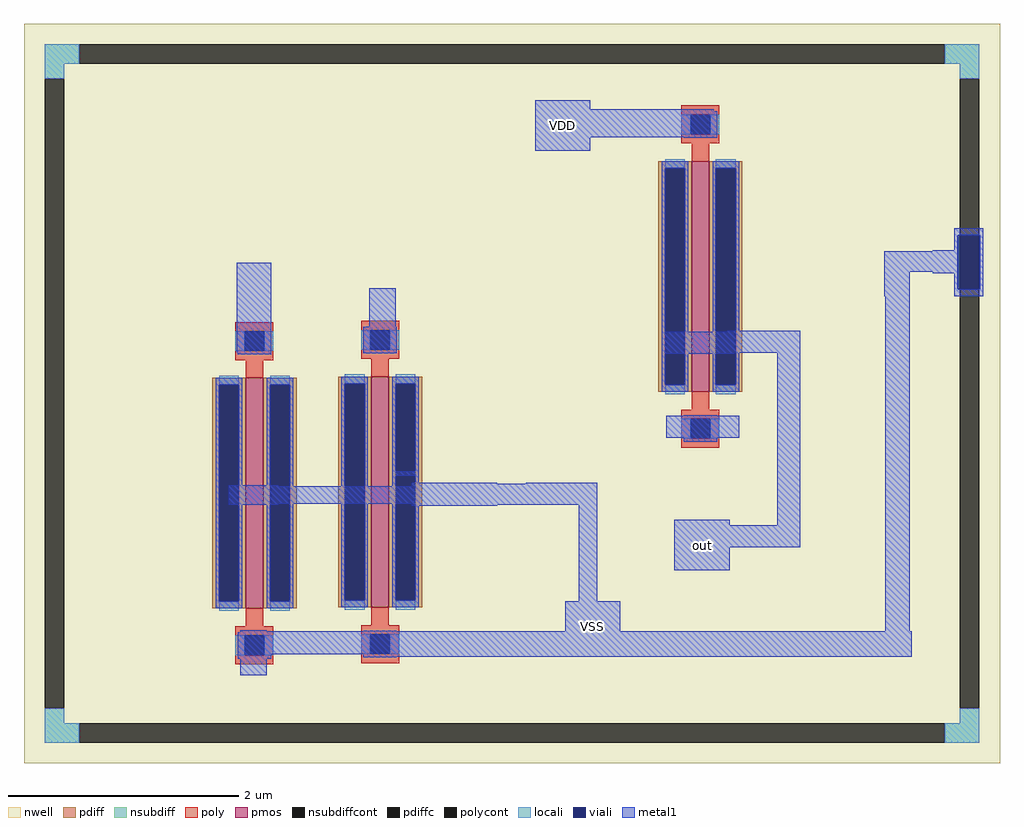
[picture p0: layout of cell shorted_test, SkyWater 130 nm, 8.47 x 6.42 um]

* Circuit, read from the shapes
.subckt shorted_test VDD out VSS
XM1 VSS VSS VSS VSS sky130_fd_pr__pfet_01v8 w=2 l=0.15 m=2
XM2 out VDD out VSS sky130_fd_pr__pfet_01v8 w=2 l=0.15
.ends

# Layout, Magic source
magic
tech sky130B
magscale 1 2
<< nwell >>
rect -331 -121 1363 1163
<< nsubdiff >>
rect -295 1093 -235 1127
rect 1267 1093 1327 1127
rect -295 1067 -261 1093
rect -295 -51 -261 -25
rect 1293 1067 1327 1093
rect 1293 -51 1327 -25
rect -295 -85 -235 -51
rect 1267 -85 1327 -51
<< nsubdiffcont >>
rect -235 1093 1267 1127
rect -295 -25 -261 1067
rect 1293 -25 1327 1067
rect -235 -85 1267 -51
<< locali >>
rect -295 1093 -235 1127
rect 1267 1093 1327 1127
rect -295 1067 -261 1093
rect 1293 1067 1327 1093
rect -295 -51 -261 -25
rect 1293 -51 1327 -25
rect -295 -85 -235 -51
rect 1267 -85 1327 -51
<< viali >>
rect 1290 702 1293 796
rect 1293 702 1327 796
rect 1327 702 1328 796
<< metal1 >>
rect 556 1014 652 1030
rect 556 966 866 1014
rect 556 942 652 966
rect 1284 796 1334 808
rect 1284 770 1290 796
rect 1246 768 1290 770
rect 38 592 98 748
rect 1162 732 1290 768
rect 268 592 314 704
rect 1162 690 1206 732
rect 1246 730 1290 732
rect 1284 702 1290 730
rect 1328 702 1334 796
rect 1284 690 1334 702
rect 890 628 1016 630
rect 776 592 1016 628
rect 776 590 902 592
rect 784 444 910 482
rect 310 378 348 386
rect 342 364 490 366
rect 540 364 664 366
rect 24 360 110 362
rect 342 360 664 364
rect 24 330 664 360
rect 24 328 110 330
rect 342 328 664 330
rect 342 326 490 328
rect 632 160 664 328
rect 798 292 894 302
rect 976 292 1016 592
rect 798 254 1016 292
rect 798 214 894 254
rect 44 108 90 110
rect 608 108 704 160
rect 1164 108 1206 690
rect 44 68 1210 108
rect 44 32 90 68
rect 310 64 1210 68
use sky130_fd_pr__pfet_01v8_MJB5SZ  sky130_fd_pr__pfet_01v8_MJB5SZ_0
transform 1 0 287 0 1 350
box -109 -300 109 300
use sky130_fd_pr__pfet_01v8_MJB5SZ  sky130_fd_pr__pfet_01v8_MJB5SZ_1
transform 1 0 69 0 1 348
box -109 -300 109 300
use sky130_fd_pr__pfet_01v8_MJB5SZ  sky130_fd_pr__pfet_01v8_MJB5SZ_2
transform 1 0 843 0 1 724
box -109 -300 109 300
<< labels >>
rlabel metal1 798 214 894 302 1 out
port 3 n
rlabel metal1 556 942 652 1030 1 VDD
port 1 n
rlabel metal1 608 72 704 160 1 VSS
port 4 n
<< end >>

# cell sky130_fd_pr__pfet_01v8_MJB5SZ: kit device sky130_fd_pr__pfet_01v8, w 2 l 0.15 m 1 nf 1 diffcov 100 polycov 100 guard 0 glc 1 grc 1 gtc 1 gbc 1 tbcov 100 rlcov 100 topc 1 botc 1 poverlap 0 doverlap 0 lmin 0.15 wmin 0.42 class mosfet compatible {sky130_fd_pr__pfet_01v8 sky130_fd_pr__pfet_01v8_lvt sky130_fd_pr__pfet_01v8_hvt sky130_fd_pr__pfet_g5v0d10v5} full_metal 0 viasrc 100 viadrn 100 viagate 100 viagb 0 viagr 0 viagl 0 viagt 0
